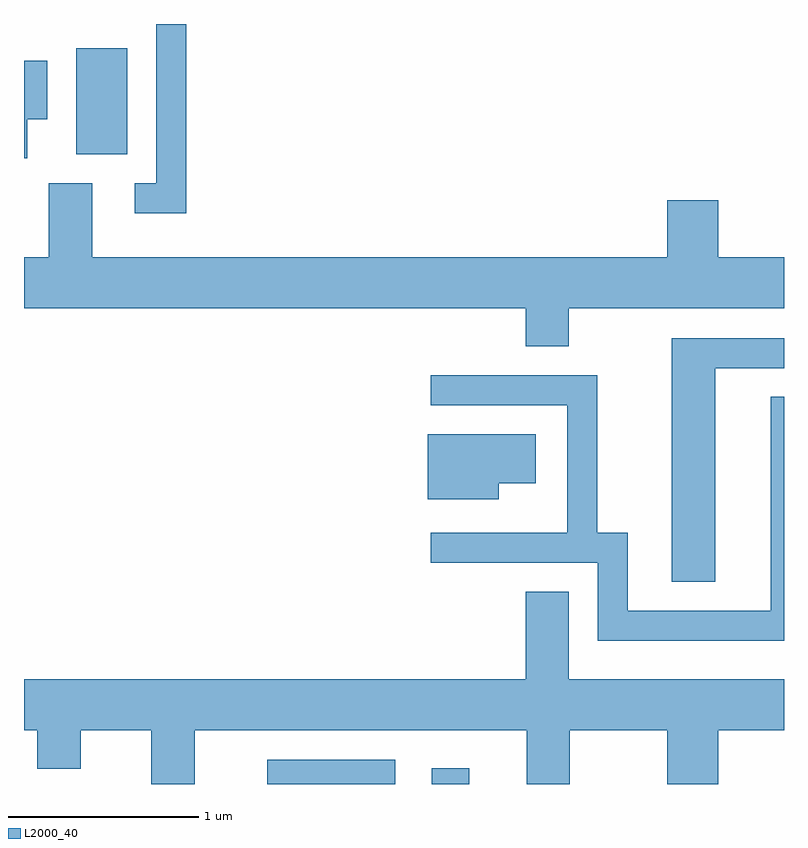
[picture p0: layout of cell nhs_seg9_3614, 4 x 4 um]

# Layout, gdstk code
import gdstk
lib = gdstk.Library(unit=1e-6, precision=1e-09)
def R(c, l, rs):  # rectangles x0, y0, x1, y1
    for r in rs: c.add(gdstk.rectangle(r[:2], r[2:], *l))
def P(c, l, *ps):  # polygons
    for p in ps: c.add(gdstk.Polygon(p, *l))
L2000_40 = (2000, 40)

nhs_seg9_3614 = lib.new_cell('nhs_seg9_3614')
R(nhs_seg9_3614, L2000_40, [(292.891,1980.432,293.564,1980.559), (293.756,1980.432,293.954,1980.514), (291.886,1983.746,292.154,1984.304)])
P(nhs_seg9_3614, L2000_40, [(292.464,1984.432),(292.306,1984.432),(292.306,1983.594),(292.193,1983.594),(292.193,1983.436),(292.464,1983.436)],
  [(291.629,1983.931),(291.734,1983.931),(291.734,1984.239),(291.611,1984.239),(291.611,1983.726),(291.629,1983.726)],
  [(294.479,1982.936),(295.611,1982.936),(295.611,1983.204),(295.264,1983.204),(295.264,1983.504),(294.996,1983.504),(294.996,1983.204),(291.969,1983.204),(291.969,1983.594),(291.741,1983.594),(291.741,1983.204),(291.611,1983.204),(291.611,1982.936),(294.251,1982.936),(294.251,1982.736),(294.479,1982.736)],
  [(295.249,1982.621),(295.611,1982.621),(295.611,1982.779),(295.021,1982.779),(295.021,1981.496),(295.249,1981.496)],
  [(295.611,1982.469),(295.541,1982.469),(295.541,1981.344),(294.789,1981.344),(294.789,1981.754),(294.629,1981.754),(294.629,1982.584),(293.753,1982.584),(293.753,1982.426),(294.471,1982.426),(294.471,1981.754),(293.753,1981.754),(293.753,1981.596),(294.631,1981.596),(294.631,1981.186),(295.611,1981.186)],
  [(294.109,1982.016),(294.304,1982.016),(294.304,1982.274),(293.736,1982.274),(293.736,1981.931),(294.109,1981.931)],
  [(292.509,1980.716),(294.256,1980.716),(294.256,1980.432),(294.484,1980.432),(294.484,1980.716),(294.996,1980.716),(294.996,1980.432),(295.264,1980.432),(295.264,1980.716),(295.611,1980.716),(295.611,1980.984),(294.479,1980.984),(294.479,1981.444),(294.251,1981.444),(294.251,1980.984),(291.611,1980.984),(291.611,1980.716),(291.681,1980.716),(291.681,1980.511),(291.909,1980.511),(291.909,1980.716),(292.281,1980.716),(292.281,1980.432),(292.509,1980.432)])

lib.write_gds('nhs_seg9_3614.gds')
